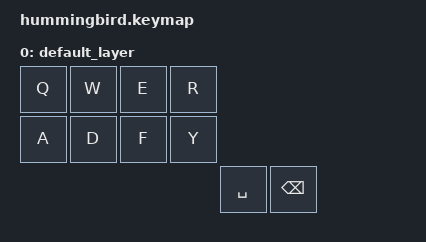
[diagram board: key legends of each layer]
/*
 * Copyright (c) 2020 The ZMK Contributors
 *
 * SPDX-License-Identifier: MIT
 */

#include <behaviors.dtsi>
#include <dt-bindings/zmk/keys.h>
#include <dt-bindings/zmk/bt.h>

/ {
    keymap {
        compatible = "zmk,keymap";

        default_layer {
            bindings = <
		    &kp Q      &kp W      &kp E       &kp R       
		    &kp A      &kp D      &kp F       &kp Y
               	                                      &kp SPACE &kp BSPC
            >;
        };
    };
};
